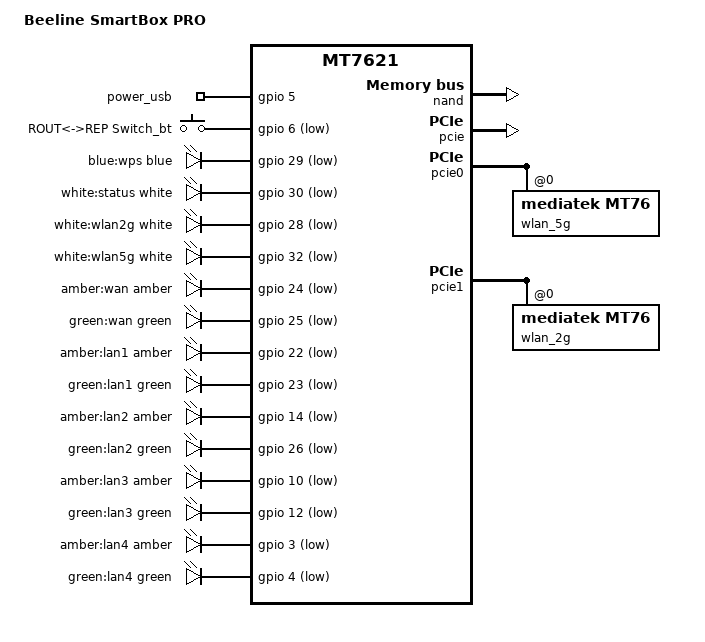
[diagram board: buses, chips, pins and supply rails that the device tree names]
// SPDX-License-Identifier: GPL-2.0-or-later

#include "mt7621.dtsi"

#include <dt-bindings/gpio/gpio.h>
#include <dt-bindings/input/input.h>
#include <dt-bindings/leds/common.h>

/ {
	compatible = "beeline,smartbox-pro", "mediatek,mt7621-soc";
	model = "Beeline SmartBox PRO";

	aliases {
		led-boot = &led_status;
		led-running = &led_status;
		led-upgrade = &led_wps;
		led-failsafe = &led_wps;
		label-mac-device = &gmac0;
	};


	gpio_export {
		compatible = "gpio-export";
		#size-cells = <0>;

		power_usb {
			gpio-export,name = "power_usb";
			gpio-export,output = <1>;
			gpios = <&gpio 5 GPIO_ACTIVE_HIGH>;
		};
	};
	
	keys {
		switch_bt { // "LOW<->HIGH" Switch Button
			label = "ROUT<->REP Switch_bt";
			gpios = <&gpio 6 GPIO_ACTIVE_LOW>;
			linux,input-type = <EV_SW>;
			linux,code = <KEY_RFKILL>;
			debounce-interval = <60>;
		};
	};
	
	
	leds {
		compatible = "gpio-leds";

		led_wps: wps {
			label = "blue:wps";
			color = <LED_COLOR_ID_BLUE>;
			function = LED_FUNCTION_WPS;
			gpios = <&gpio 29 GPIO_ACTIVE_LOW>;
		};

		led_status: status {
			label = "white:status";
			color = <LED_COLOR_ID_WHITE>;
			function = LED_FUNCTION_STATUS;
			gpios = <&gpio 30 GPIO_ACTIVE_LOW>;
		};

		wlan2g {
			label = "white:wlan2g";
			color = <LED_COLOR_ID_WHITE>;
			// function = LED_FUNCTION_WLAN0;
			gpios = <&gpio 28 GPIO_ACTIVE_LOW>;
		};

		wlan5g {
			label = "white:wlan5g";
			color = <LED_COLOR_ID_WHITE>;
			// function = LED_FUNCTION_WLAN1;
			gpios = <&gpio 32 GPIO_ACTIVE_LOW>;
		};

		wan_speed {
			label = "amber:wan";
			color = <LED_COLOR_ID_AMBER>;
			gpios = <&gpio 24 GPIO_ACTIVE_LOW>;
		};

		wan_link_act {
			label = "green:wan";
			color = <LED_COLOR_ID_GREEN>;
			gpios = <&gpio 25 GPIO_ACTIVE_LOW>;
		};

		lan1_speed {
			label = "amber:lan1";
			color = <LED_COLOR_ID_AMBER>;
			gpios = <&gpio 22 GPIO_ACTIVE_LOW>;
		};

		lan1_link_act {
			label = "green:lan1";
			color = <LED_COLOR_ID_GREEN>;
			gpios = <&gpio 23 GPIO_ACTIVE_LOW>;
		};

		lan2_speed {
			label = "amber:lan2";
			color = <LED_COLOR_ID_AMBER>;
			gpios = <&gpio 14 GPIO_ACTIVE_LOW>;
		};

		lan2_link_act {
			label = "green:lan2";
			color = <LED_COLOR_ID_GREEN>;
			gpios = <&gpio 26 GPIO_ACTIVE_LOW>;
		};

		lan3_speed {
			label = "amber:lan3";
			color = <LED_COLOR_ID_AMBER>;
			gpios = <&gpio 10 GPIO_ACTIVE_LOW>;
		};

		lan3_link_act {
			label = "green:lan3";
			color = <LED_COLOR_ID_GREEN>;
			gpios = <&gpio 12 GPIO_ACTIVE_LOW>;
		};

		lan4_speed {
			label = "amber:lan4";
			color = <LED_COLOR_ID_AMBER>;
			gpios = <&gpio 3 GPIO_ACTIVE_LOW>;
		};

		lan4_link_act {
			label = "green:lan4";
			color = <LED_COLOR_ID_GREEN>;
			gpios = <&gpio 4 GPIO_ACTIVE_LOW>;
		};
	};

	ubi-concat {
		compatible = "mtd-concat";
		devices = <&ubiconcat0 &ubiconcat1 &ubiconcat2 &ubiconcat3 \
			&ubiconcat4 &ubiconcat5 &ubiconcat6>;

		partitions {
			compatible = "fixed-partitions";
			#address-cells = <1>;
			#size-cells = <1>;

			partition@0 { // 215936 KiB = 210,875 MiB
				label = "ubi";
				reg = <0x0 0xd2e0000>;
			};
		};
	};
};

&nand {
	status = "okay";

	partitions {
		compatible = "fixed-partitions";
		#address-cells = <1>;
		#size-cells = <1>;

		partition@0_all {
			label = "ALL";
			reg = <0x0 0xff80000>;
			read-only;
		};

		partition@0 {
			label = "Bootloader";
			reg = <0x0 0x100000>;
			read-only;
		};

		factory: partition@100000 {
			label = "Factory";
			reg = <0x100000 0x100000>;
			read-only;

			compatible = "nvmem-cells";
			#address-cells = <1>;
			#size-cells = <1>;

			macaddr_factory_1000: macaddr@1000 {
				reg = <0x1000 0x6>;
			};
		};

		partition@200001 {
			label = "sys_data";
			reg = <0x200000 0x1400000>;
			read-only;
		}; // Uboot saveenv 0x600000 0x20000

		partition@1600000 {
			label = "boot_flag";
			reg = <0x1600000 0x100000>;
		};

		partition@1700000 {
			label = "kernel"; // Kernel_1
			reg = <0x1700000 0x400000>;
		};

		partition@1b00000 {
			label = "Kernel_2";
			reg = <0x1b00000 0x400000>;
			read-only;
		};

		ubiconcat0: partition@1f00000 {
			label = "RootFS_1";
			reg = <0x1f00000 0x1e00000>;
		};

		partition@3d00000 {
			label = "RootFS_2";
			reg = <0x3d00000 0x1e00000>;
			read-only;
		};

		ubiconcat1: partition@5b00000 {
			label = "JVM/OSGI1";
			reg = <0x5b00000 0x3200000>;
		};

		ubiconcat2: partition@8d00000 {
			label = "JVM/OSGI2";
			reg = <0x8d00000 0x3200000>;
		};

		ubiconcat3: partition@bf00000 {
			label = "OSGI data";
			reg = <0xbf00000 0x3c00000>;
		};

		ubiconcat4: partition@fb00000 {
			label = "Ftool";
			reg = <0xfb00000 0x100000>;
		};

		/*
		 * 4 MiB for Reserved Bad Block
		 * 0x10000000-0xfc00000=0x400000
		 */

		partition@800000 {
			label = "BootLoad-Env";
			reg = <0x800000 0x20000>;
		};

		/*
		 * U-Boot Sercomm saves the environment at 0x800000,
		 * destroying the sys_data partition. To do this, this section has
		 * been split to bypass the uboot env area.
		 */

		ubiconcat5: partition@200000 {
			label = "sysdata01";
			reg = <0x200000 0x600000>;
		};

		ubiconcat6: partition@820000 {
			label = "sysdata02";
			reg = <0x820000 0xde0000>;
		};
	};
};


&ethernet {
	pinctrl-0 = <&mdio_pins>, <&rgmii1_pins>;
};

&gmac0 {
	mtd-mac-address = <&factory 0x1000>;
};

&pcie {
	status = "okay";
};

&pcie0 { // mt7612en
	wlan_5g: wifi@0,0 {
		compatible = "mediatek,mt76";
		reg = <0x0000 0 0 0 0>;
		ieee80211-freq-limit = <5000000 6000000>;
	mediatek,mtd-eeprom = <&factory 0x8000>;
	mtd-mac-address = <&factory 0x1000>;
		mtd-mac-address-increment = <1>;
	};
};

&pcie1 { // mt7602en
	wlan_2g: wifi@0,0 {
		compatible = "mediatek,mt76";
		reg = <0x0000 0 0 0 0>;
		ieee80211-freq-limit = <2400000 2500000>;
	mediatek,mtd-eeprom = <&factory 0x0>;
	mtd-mac-address = <&factory 0x1000>;
		mtd-mac-address-increment = <2>;
	};
};

&state_default {
	gpio {
		groups = "wdt", "uart3", "jtag", "uart2", "i2c", "rgmii2";
		function = "gpio";
	};
};

&switch0 {
	ports {
		port@0 {
			status = "okay";
			label = "lan4";
		};

		port@1 {
			status = "okay";
			label = "lan3";
		};

		port@2 {
			status = "okay";
			label = "lan2";
		};

		port@3 {
			status = "okay";
			label = "lan1";
		};

		wan: port@4 {
			status = "okay";
			label = "wan";
	mtd-mac-address = <&factory 0x1000>;
		};
	};
};
